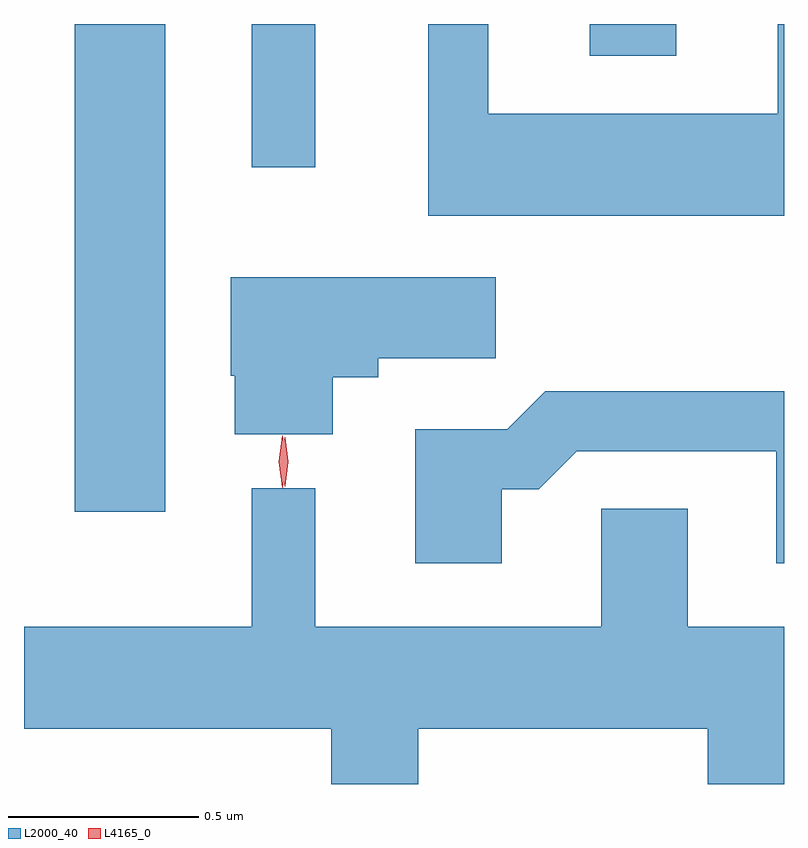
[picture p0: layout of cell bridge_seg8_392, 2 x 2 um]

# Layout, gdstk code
import gdstk
lib = gdstk.Library(unit=1e-6, precision=1e-09)
def R(c, l, rs):  # rectangles x0, y0, x1, y1
    for r in rs: c.add(gdstk.rectangle(r[:2], r[2:], *l))
def P(c, l, *ps):  # polygons
    for p in ps: c.add(gdstk.Polygon(p, *l))
L2000_40 = (2000, 40)
L4165_0 = (4165, 0)

bridge_seg8_392 = lib.new_cell('bridge_seg8_392')
R(bridge_seg8_392, L2000_40, [(725.856,1934.666,726.094,1935.95), (726.321,1935.573,726.489,1935.95), (727.211,1935.866,727.439,1935.95)])
P(bridge_seg8_392, L2000_40, [(727.722,1935.95),(727.706,1935.95),(727.706,1935.714),(726.944,1935.714),(726.944,1935.95),(726.786,1935.95),(726.786,1935.446),(727.722,1935.446)],
  [(726.534,1935.021),(726.654,1935.021),(726.654,1935.071),(726.964,1935.071),(726.964,1935.284),(726.266,1935.284),(726.266,1935.025),(726.276,1935.025),(726.276,1934.871),(726.534,1934.871)],
  [(726.979,1934.726),(727.077,1934.726),(727.177,1934.826),(727.701,1934.826),(727.701,1934.531),(727.722,1934.531),(727.722,1934.984),(727.094,1934.984),(726.994,1934.884),(726.751,1934.884),(726.751,1934.531),(726.979,1934.531)],
  [(726.759,1934.096),(727.521,1934.096),(727.521,1933.95),(727.722,1933.95),(727.722,1934.364),(727.469,1934.364),(727.469,1934.674),(727.241,1934.674),(727.241,1934.364),(726.489,1934.364),(726.489,1934.728),(726.321,1934.728),(726.321,1934.364),(725.722,1934.364),(725.722,1934.096),(726.531,1934.096),(726.531,1933.95),(726.759,1933.95)])
P(bridge_seg8_392, L4165_0, [(726.403,1934.73),(726.402,1934.731),(726.393,1934.798),(726.402,1934.866),(726.403,1934.866),(726.403,1934.866),(726.413,1934.798),(726.403,1934.731)],
  [(726.408,1934.734),(726.408,1934.734),(726.398,1934.798),(726.408,1934.862),(726.408,1934.862),(726.409,1934.862),(726.418,1934.798),(726.409,1934.734)])

lib.write_gds('bridge_seg8_392.gds')
